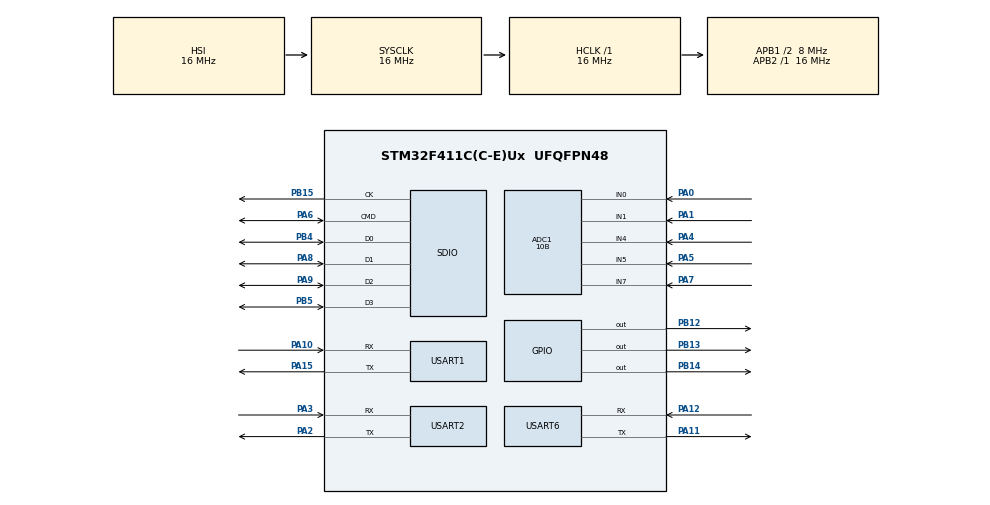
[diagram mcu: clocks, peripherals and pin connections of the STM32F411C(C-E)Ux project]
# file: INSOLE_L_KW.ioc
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ADC1.Channel-10\#ChannelRegularConversion=ADC_CHANNEL_1
ADC1.Channel-12\#ChannelRegularConversion=ADC_CHANNEL_4
ADC1.Channel-13\#ChannelRegularConversion=ADC_CHANNEL_5
ADC1.Channel-14\#ChannelRegularConversion=ADC_CHANNEL_7
ADC1.Channel-5\#ChannelRegularConversion=ADC_CHANNEL_0
ADC1.ContinuousConvMode=ENABLE
ADC1.DMAContinuousRequests=ENABLE
ADC1.InjNumberOfConversion=0
ADC1.NbrOfConversion=5
ADC1.NbrOfConversionFlag=1
ADC1.Rank-10\#ChannelRegularConversion=2
ADC1.Rank-12\#ChannelRegularConversion=3
ADC1.Rank-13\#ChannelRegularConversion=4
ADC1.Rank-14\#ChannelRegularConversion=5
ADC1.Rank-5\#ChannelRegularConversion=1
ADC1.Resolution=ADC_RESOLUTION_10B
ADC1.SamplingTime-10\#ChannelRegularConversion=ADC_SAMPLETIME_112CYCLES
ADC1.SamplingTime-12\#ChannelRegularConversion=ADC_SAMPLETIME_112CYCLES
ADC1.SamplingTime-13\#ChannelRegularConversion=ADC_SAMPLETIME_112CYCLES
ADC1.SamplingTime-14\#ChannelRegularConversion=ADC_SAMPLETIME_112CYCLES
ADC1.SamplingTime-5\#ChannelRegularConversion=ADC_SAMPLETIME_112CYCLES
ADC1.master=1
Dma.ADC1.0.Direction=DMA_PERIPH_TO_MEMORY
Dma.ADC1.0.FIFOMode=DMA_FIFOMODE_DISABLE
Dma.ADC1.0.Instance=DMA2_Stream0
Dma.ADC1.0.MemDataAlignment=DMA_MDATAALIGN_HALFWORD
Dma.ADC1.0.MemInc=DMA_MINC_ENABLE
Dma.ADC1.0.Mode=DMA_CIRCULAR
Dma.ADC1.0.PeriphDataAlignment=DMA_PDATAALIGN_HALFWORD
Dma.ADC1.0.PeriphInc=DMA_PINC_DISABLE
Dma.ADC1.0.Priority=DMA_PRIORITY_LOW
Dma.Request0=ADC1
Dma.Request1=SDIO_RX
Dma.Request2=SDIO_TX
Dma.Request3=USART2_RX
Dma.SDIO_RX.1.Direction=DMA_PERIPH_TO_MEMORY
Dma.SDIO_RX.1.FIFOMode=DMA_FIFOMODE_ENABLE
Dma.SDIO_RX.1.FIFOThreshold=DMA_FIFO_THRESHOLD_FULL
Dma.SDIO_RX.1.Instance=DMA2_Stream3
Dma.SDIO_RX.1.MemBurst=DMA_MBURST_INC4
Dma.SDIO_RX.1.MemDataAlignment=DMA_MDATAALIGN_WORD
Dma.SDIO_RX.1.MemInc=DMA_MINC_ENABLE
Dma.SDIO_RX.1.Mode=DMA_PFCTRL
Dma.SDIO_RX.1.PeriphBurst=DMA_PBURST_INC4
Dma.SDIO_RX.1.PeriphDataAlignment=DMA_PDATAALIGN_WORD
Dma.SDIO_RX.1.PeriphInc=DMA_PINC_DISABLE
Dma.SDIO_RX.1.Priority=DMA_PRIORITY_LOW
Dma.SDIO_TX.2.Direction=DMA_MEMORY_TO_PERIPH
Dma.SDIO_TX.2.FIFOMode=DMA_FIFOMODE_ENABLE
Dma.SDIO_TX.2.FIFOThreshold=DMA_FIFO_THRESHOLD_FULL
Dma.SDIO_TX.2.Instance=DMA2_Stream6
Dma.SDIO_TX.2.MemBurst=DMA_MBURST_INC4
Dma.SDIO_TX.2.MemDataAlignment=DMA_MDATAALIGN_WORD
Dma.SDIO_TX.2.MemInc=DMA_MINC_ENABLE
Dma.SDIO_TX.2.Mode=DMA_PFCTRL
Dma.SDIO_TX.2.PeriphBurst=DMA_PBURST_INC4
Dma.SDIO_TX.2.PeriphDataAlignment=DMA_PDATAALIGN_WORD
Dma.SDIO_TX.2.PeriphInc=DMA_PINC_DISABLE
Dma.SDIO_TX.2.Priority=DMA_PRIORITY_LOW
Dma.USART2_RX.3.Direction=DMA_PERIPH_TO_MEMORY
Dma.USART2_RX.3.FIFOMode=DMA_FIFOMODE_DISABLE
Dma.USART2_RX.3.Instance=DMA1_Stream5
Dma.USART2_RX.3.MemDataAlignment=DMA_MDATAALIGN_BYTE
Dma.USART2_RX.3.MemInc=DMA_MINC_ENABLE
Dma.USART2_RX.3.Mode=DMA_CIRCULAR
Dma.USART2_RX.3.PeriphDataAlignment=DMA_PDATAALIGN_BYTE
Dma.USART2_RX.3.PeriphInc=DMA_PINC_DISABLE
Dma.USART2_RX.3.Priority=DMA_PRIORITY_LOW
FATFS._MAX_SS=4096
FREERTOS.Tasks01=defaultTask,0,128,StartDefaultTask,Default,NULL
FREERTOS.configTICK_RATE_HZ=1000
Mcu.Family=STM32F4
Mcu.Name=STM32F411C(C-E)Ux
Mcu.Package=UFQFPN48
NVIC.DMA1_Stream5_IRQn=true\:5\:0\:false\:false\:true\:true\:false\:true
NVIC.DMA2_Stream0_IRQn=true\:5\:0\:false\:false\:true\:true\:false\:true
NVIC.DMA2_Stream3_IRQn=true\:5\:0\:false\:false\:true\:true\:false\:true
NVIC.DMA2_Stream6_IRQn=true\:5\:0\:false\:false\:true\:true\:false\:true
NVIC.PriorityGroup=NVIC_PRIORITYGROUP_4
NVIC.SDIO_IRQn=true\:5\:0\:false\:false\:true\:true\:true\:true
NVIC.TIM4_IRQn=true\:5\:0\:false\:false\:true\:true\:true\:true
NVIC.TIM5_IRQn=true\:0\:0\:false\:false\:true\:false\:false\:true
NVIC.TimeBase=TIM5_IRQn
NVIC.TimeBaseIP=TIM5
NVIC.USART1_IRQn=true\:5\:0\:false\:false\:true\:true\:true\:true
PA0-WKUP.Signal=ADCx_IN0
PA1.Signal=ADCx_IN1
PA10.Mode=Asynchronous
PA10.Signal=USART1_RX
PA11.Mode=Asynchronous
PA11.Signal=USART6_TX
PA12.Mode=Asynchronous
PA12.Signal=USART6_RX
PA15.Mode=Asynchronous
PA15.Signal=USART1_TX
PA2.Mode=Asynchronous
PA2.Signal=USART2_TX
PA3.Mode=Asynchronous
PA3.Signal=USART2_RX
PA4.Signal=ADCx_IN4
PA5.Signal=ADCx_IN5
PA6.GPIO_PuPd=GPIO_PULLUP
PA6.Mode=SD_4_bits_Wide_bus
PA6.Signal=SDIO_CMD
PA7.Signal=ADCx_IN7
PA8.GPIO_PuPd=GPIO_PULLUP
PA8.Mode=SD_4_bits_Wide_bus
PA8.Signal=SDIO_D1
PA9.GPIO_PuPd=GPIO_PULLUP
PA9.Mode=SD_4_bits_Wide_bus
PA9.Signal=SDIO_D2
PB12.Signal=GPIO_Output
PB13.Signal=GPIO_Output
PB14.Signal=GPIO_Output
PB15.Mode=SD_4_bits_Wide_bus
PB15.Signal=SDIO_CK
PB4.GPIO_PuPd=GPIO_PULLUP
PB4.Mode=SD_4_bits_Wide_bus
PB4.Signal=SDIO_D0
PB5.GPIO_PuPd=GPIO_PULLUP
PB5.Mode=SD_4_bits_Wide_bus
PB5.Signal=SDIO_D3
ProjectManager.HeapSize=0x200
ProjectManager.StackSize=0x400
ProjectManager.TargetToolchain=MDK-ARM V5
RCC.48MHZClocksFreq_Value=42666666.666666664
RCC.AHBFreq_Value=16000000
RCC.APB1CLKDivider=RCC_HCLK_DIV2
RCC.APB1Freq_Value=8000000
RCC.APB1TimFreq_Value=16000000
RCC.APB2Freq_Value=16000000
RCC.APB2TimFreq_Value=16000000
RCC.CortexFreq_Value=16000000
RCC.HCLKFreq_Value=16000000
RCC.HSE_VALUE=8000000
RCC.HSI_VALUE=16000000
RCC.LSE_VALUE=32768
RCC.PLLM=8
RCC.PLLN=64
RCC.PLLQ=3
RCC.SYSCLKFreq_VALUE=16000000
RCC.VCOOutputFreq_Value=128000000
SDIO.ClockDiv=3
SH.ADCx_IN0.0=ADC1_IN0,IN0
SH.ADCx_IN1.0=ADC1_IN1,IN1
SH.ADCx_IN4.0=ADC1_IN4,IN4
SH.ADCx_IN5.0=ADC1_IN5,IN5
SH.ADCx_IN7.0=ADC1_IN7,IN7
TIM4.Period=10-1
TIM4.Prescaler=1600-2
TIM4.TIM_MasterOutputTrigger=TIM_TRGO_UPDATE
USART1.VirtualMode=VM_ASYNC
USART2.VirtualMode=VM_ASYNC
USART6.VirtualMode=VM_ASYNC
VP_CRC_VS_CRC.Mode=CRC_Activate
VP_FATFS_VS_SDIO.Mode=SDIO
VP_FREERTOS_VS_CMSIS_V1.Mode=CMSIS_V1
VP_SYS_VS_tim5.Mode=TIM5
VP_TIM4_VS_ClockSourceINT.Mode=Internal
board=custom

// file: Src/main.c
/* USER CODE BEGIN Header */
/**
  ******************************************************************************
  * @file           : main.c
  * @brief          : Main program body
  ******************************************************************************
  * @attention
  *
  * <h2><center>&copy; Copyright (c) 2020 STMicroelectronics.
  * All rights reserved.</center></h2>
  *
  * This software component is licensed by ST under Ultimate Liberty license
  * SLA0044, the "License"; You may not use this file except in compliance with
  * the License. You may obtain a copy of the License at:
  *                             www.st.com/SLA0044
  *
  ******************************************************************************
  */
/* USER CODE END Header */

#include "main.h"
#include "cmsis_os.h"
#include "fatfs.h"

/* USER CODE BEGIN Includes */
#include <stdio.h>
#include <string.h>
#include <stdbool.h>
/* USER CODE END Includes */

ADC_HandleTypeDef hadc1;
DMA_HandleTypeDef hdma_adc1;

CRC_HandleTypeDef hcrc;

SD_HandleTypeDef hsd;
DMA_HandleTypeDef hdma_sdio_rx;
DMA_HandleTypeDef hdma_sdio_tx;

TIM_HandleTypeDef htim4;

UART_HandleTypeDef huart1;
UART_HandleTypeDef huart2;
UART_HandleTypeDef huart6;
DMA_HandleTypeDef hdma_usart2_rx;

osThreadId defaultTaskHandle;

void SystemClock_Config(void);
static void MX_GPIO_Init(void);
static void MX_DMA_Init(void);
static void MX_ADC1_Init(void);
static void MX_USART1_UART_Init(void);
static void MX_USART2_UART_Init(void);
static void MX_SDIO_SD_Init(void);
static void MX_TIM4_Init(void);
static void MX_USART6_UART_Init(void);
static void MX_CRC_Init(void);
void StartDefaultTask(void const * argument);

/* USER CODE BEGIN 0 */
//Communication buffers
	uint8_t txdata[46]; //4 from FFFF,FFFE 18 from Imu, 20 byte from insole  2byte crc 2byte tmr : 46 byte
	uint8_t rxBuf[34] = {0};
	uint8_t buff_index = 0;
	uint8_t rxBuf_transmit[28] = {0};
	uint16_t adcValArray[5] = {0,};

	//crcval
	uint32_t crcArray[8] = {0,};
	uint32_t crcArray_send[10] = {0,};

	uint16_t crcval = 0;

	//test
	uint16_t cal_val = 0;
	uint16_t receive_val =0;

	//buff calcualtion
	uint8_t rxBuf_crc[34] = {0};
	bool crc_test = true;
	bool rxBuf_trans = true;

/* USER CODE END 0 */

int main(void)
{

  /* MCU Configuration--------------------------------------------------------*/

  /* Reset of all peripherals, Initializes the Flash interface and the Systick. */
  HAL_Init();

  /* Configure the system clock */
  SystemClock_Config();

  /* Initialize all configured peripherals */
  MX_GPIO_Init();
  MX_DMA_Init();
  MX_ADC1_Init();
  MX_USART1_UART_Init();
  MX_USART2_UART_Init();
  MX_SDIO_SD_Init();
  MX_TIM4_Init();
  MX_USART6_UART_Init();
  MX_CRC_Init();
  /* USER CODE BEGIN 2 */
  HAL_UART_Receive_DMA(&huart2, (uint8_t *)rxBuf_crc, 34); //dma mode only in the mcu data
  HAL_ADC_Start_DMA(&hadc1,(uint32_t *)adcValArray, 5);
  HAL_TIM_Base_Start_IT(&htim4);
  /* USER CODE END 2 */

  /* Create the thread(s) */
  /* definition and creation of defaultTask */
  osThreadDef(defaultTask, StartDefaultTask, osPriorityNormal, 0, 128);
  defaultTaskHandle = osThreadCreate(osThread(defaultTask), NULL);

  /* Start scheduler */
  osKernelStart();

  /* We should never get here as control is now taken by the scheduler */

  /* Infinite loop */
  while (1)
  {

  }
}

void SystemClock_Config(void)
{
  RCC_OscInitTypeDef RCC_OscInitStruct = {0};
  RCC_ClkInitTypeDef RCC_ClkInitStruct = {0};

  /** Configure the main internal regulator output voltage
  */
  __HAL_RCC_PWR_CLK_ENABLE();
  __HAL_PWR_VOLTAGESCALING_CONFIG(PWR_REGULATOR_VOLTAGE_SCALE1);
  /** Initializes the CPU, AHB and APB busses clocks
  */
  RCC_OscInitStruct.OscillatorType = RCC_OSCILLATORTYPE_HSI;
  RCC_OscInitStruct.HSIState = RCC_HSI_ON;
  RCC_OscInitStruct.HSICalibrationValue = RCC_HSICALIBRATION_DEFAULT;
  RCC_OscInitStruct.PLL.PLLState = RCC_PLL_ON;
  RCC_OscInitStruct.PLL.PLLSource = RCC_PLLSOURCE_HSI;
  RCC_OscInitStruct.PLL.PLLM = 8;
  RCC_OscInitStruct.PLL.PLLN = 64;
  RCC_OscInitStruct.PLL.PLLP = RCC_PLLP_DIV2;
  RCC_OscInitStruct.PLL.PLLQ = 3;
  if (HAL_RCC_OscConfig(&RCC_OscInitStruct) != HAL_OK)
  {
    Error_Handler();
  }
  /** Initializes the CPU, AHB and APB busses clocks
  */
  RCC_ClkInitStruct.ClockType = RCC_CLOCKTYPE_HCLK|RCC_CLOCKTYPE_SYSCLK
                              |RCC_CLOCKTYPE_PCLK1|RCC_CLOCKTYPE_PCLK2;
  RCC_ClkInitStruct.SYSCLKSource = RCC_SYSCLKSOURCE_HSI;
  RCC_ClkInitStruct.AHBCLKDivider = RCC_SYSCLK_DIV1;
  RCC_ClkInitStruct.APB1CLKDivider = RCC_HCLK_DIV2;
  RCC_ClkInitStruct.APB2CLKDivider = RCC_HCLK_DIV1;

  if (HAL_RCC_ClockConfig(&RCC_ClkInitStruct, FLASH_LATENCY_0) != HAL_OK)
  {
    Error_Handler();
  }
}

static void MX_ADC1_Init(void)
{

  ADC_ChannelConfTypeDef sConfig = {0};

  /** Configure the global features of the ADC (Clock, Resolution, Data Alignment and number of conversion)
  */
  hadc1.Instance = ADC1;
  hadc1.Init.ClockPrescaler = ADC_CLOCK_SYNC_PCLK_DIV2;
  hadc1.Init.Resolution = ADC_RESOLUTION_10B;
  hadc1.Init.ScanConvMode = ENABLE;
  hadc1.Init.ContinuousConvMode = ENABLE;
  hadc1.Init.DiscontinuousConvMode = DISABLE;
  hadc1.Init.ExternalTrigConvEdge = ADC_EXTERNALTRIGCONVEDGE_NONE;
  hadc1.Init.ExternalTrigConv = ADC_SOFTWARE_START;
  hadc1.Init.DataAlign = ADC_DATAALIGN_RIGHT;
  hadc1.Init.NbrOfConversion = 5;
  hadc1.Init.DMAContinuousRequests = ENABLE;
  hadc1.Init.EOCSelection = ADC_EOC_SINGLE_CONV;
  if (HAL_ADC_Init(&hadc1) != HAL_OK)
  {
    Error_Handler();
  }
  /** Configure for the selected ADC regular channel its corresponding rank in the sequencer and its sample time.
  */
  sConfig.Channel = ADC_CHANNEL_0;
  sConfig.Rank = 1;
  sConfig.SamplingTime = ADC_SAMPLETIME_112CYCLES;
  if (HAL_ADC_ConfigChannel(&hadc1, &sConfig) != HAL_OK)
  {
    Error_Handler();
  }
  /** Configure for the selected ADC regular channel its corresponding rank in the sequencer and its sample time.
  */
  sConfig.Channel = ADC_CHANNEL_1;
  sConfig.Rank = 2;
  if (HAL_ADC_ConfigChannel(&hadc1, &sConfig) != HAL_OK)
  {
    Error_Handler();
  }
  /** Configure for the selected ADC regular channel its corresponding rank in the sequencer and its sample time.
  */
  sConfig.Channel = ADC_CHANNEL_4;
  sConfig.Rank = 3;
  if (HAL_ADC_ConfigChannel(&hadc1, &sConfig) != HAL_OK)
  {
    Error_Handler();
  }
  /** Configure for the selected ADC regular channel its corresponding rank in the sequencer and its sample time.
  */
  sConfig.Channel = ADC_CHANNEL_5;
  sConfig.Rank = 4;
  if (HAL_ADC_ConfigChannel(&hadc1, &sConfig) != HAL_OK)
  {
    Error_Handler();
  }
  /** Configure for the selected ADC regular channel its corresponding rank in the sequencer and its sample time.
  */
  sConfig.Channel = ADC_CHANNEL_7;
  sConfig.Rank = 5;
  if (HAL_ADC_ConfigChannel(&hadc1, &sConfig) != HAL_OK)
  {
    Error_Handler();
  }

}

static void MX_CRC_Init(void)
{

  hcrc.Instance = CRC;
  if (HAL_CRC_Init(&hcrc) != HAL_OK)
  {
    Error_Handler();
  }

}

static void MX_SDIO_SD_Init(void)
{

  hsd.Instance = SDIO;
  hsd.Init.ClockEdge = SDIO_CLOCK_EDGE_RISING;
  hsd.Init.ClockBypass = SDIO_CLOCK_BYPASS_DISABLE;
  hsd.Init.ClockPowerSave = SDIO_CLOCK_POWER_SAVE_DISABLE;
  hsd.Init.BusWide = SDIO_BUS_WIDE_1B;
  hsd.Init.HardwareFlowControl = SDIO_HARDWARE_FLOW_CONTROL_DISABLE;
  hsd.Init.ClockDiv = 3;

}

static void MX_TIM4_Init(void)
{

  TIM_ClockConfigTypeDef sClockSourceConfig = {0};
  TIM_MasterConfigTypeDef sMasterConfig = {0};

  htim4.Instance = TIM4;
  htim4.Init.Prescaler = 1600-2;
  htim4.Init.CounterMode = TIM_COUNTERMODE_UP;
  htim4.Init.Period = 10-1;
  htim4.Init.ClockDivision = TIM_CLOCKDIVISION_DIV1;
  htim4.Init.AutoReloadPreload = TIM_AUTORELOAD_PRELOAD_DISABLE;
  if (HAL_TIM_Base_Init(&htim4) != HAL_OK)
  {
    Error_Handler();
  }
  sClockSourceConfig.ClockSource = TIM_CLOCKSOURCE_INTERNAL;
  if (HAL_TIM_ConfigClockSource(&htim4, &sClockSourceConfig) != HAL_OK)
  {
    Error_Handler();
  }
  sMasterConfig.MasterOutputTrigger = TIM_TRGO_UPDATE;
  sMasterConfig.MasterSlaveMode = TIM_MASTERSLAVEMODE_DISABLE;
  if (HAL_TIMEx_MasterConfigSynchronization(&htim4, &sMasterConfig) != HAL_OK)
  {
    Error_Handler();
  }

}

static void MX_USART1_UART_Init(void)
{

  huart1.Instance = USART1;
  huart1.Init.BaudRate = 115200;
  huart1.Init.WordLength = UART_WORDLENGTH_8B;
  huart1.Init.StopBits = UART_STOPBITS_1;
  huart1.Init.Parity = UART_PARITY_NONE;
  huart1.Init.Mode = UART_MODE_TX_RX;
  huart1.Init.HwFlowCtl = UART_HWCONTROL_NONE;
  huart1.Init.OverSampling = UART_OVERSAMPLING_16;
  if (HAL_UART_Init(&huart1) != HAL_OK)
  {
    Error_Handler();
  }

}

static void MX_USART2_UART_Init(void)
{

  huart2.Instance = USART2;
  huart2.Init.BaudRate = 115200;
  huart2.Init.WordLength = UART_WORDLENGTH_8B;
  huart2.Init.StopBits = UART_STOPBITS_1;
  huart2.Init.Parity = UART_PARITY_NONE;
  huart2.Init.Mode = UART_MODE_TX_RX;
  huart2.Init.HwFlowCtl = UART_HWCONTROL_NONE;
  huart2.Init.OverSampling = UART_OVERSAMPLING_16;
  if (HAL_UART_Init(&huart2) != HAL_OK)
  {
    Error_Handler();
  }

}

static void MX_USART6_UART_Init(void)
{

  huart6.Instance = USART6;
  huart6.Init.BaudRate = 115200;
  huart6.Init.WordLength = UART_WORDLENGTH_8B;
  huart6.Init.StopBits = UART_STOPBITS_1;
  huart6.Init.Parity = UART_PARITY_NONE;
  huart6.Init.Mode = UART_MODE_TX_RX;
  huart6.Init.HwFlowCtl = UART_HWCONTROL_NONE;
  huart6.Init.OverSampling = UART_OVERSAMPLING_16;
  if (HAL_UART_Init(&huart6) != HAL_OK)
  {
    Error_Handler();
  }

}

static void MX_DMA_Init(void)
{

  /* DMA controller clock enable */
  __HAL_RCC_DMA2_CLK_ENABLE();
  __HAL_RCC_DMA1_CLK_ENABLE();

  /* DMA interrupt init */
  /* DMA1_Stream5_IRQn interrupt configuration */
  HAL_NVIC_SetPriority(DMA1_Stream5_IRQn, 5, 0);
  HAL_NVIC_EnableIRQ(DMA1_Stream5_IRQn);
  /* DMA2_Stream0_IRQn interrupt configuration */
  HAL_NVIC_SetPriority(DMA2_Stream0_IRQn, 5, 0);
  HAL_NVIC_EnableIRQ(DMA2_Stream0_IRQn);
  /* DMA2_Stream3_IRQn interrupt configuration */
  HAL_NVIC_SetPriority(DMA2_Stream3_IRQn, 5, 0);
  HAL_NVIC_EnableIRQ(DMA2_Stream3_IRQn);
  /* DMA2_Stream6_IRQn interrupt configuration */
  HAL_NVIC_SetPriority(DMA2_Stream6_IRQn, 5, 0);
  HAL_NVIC_EnableIRQ(DMA2_Stream6_IRQn);

}

static void MX_GPIO_Init(void)
{
  GPIO_InitTypeDef GPIO_InitStruct = {0};

  /* GPIO Ports Clock Enable */
  __HAL_RCC_GPIOA_CLK_ENABLE();
  __HAL_RCC_GPIOB_CLK_ENABLE();

  /*Configure GPIO pin Output Level */
  HAL_GPIO_WritePin(GPIOB, GPIO_PIN_12|GPIO_PIN_13|GPIO_PIN_14, GPIO_PIN_RESET);

  /*Configure GPIO pins : PB12 PB13 PB14 */
  GPIO_InitStruct.Pin = GPIO_PIN_12|GPIO_PIN_13|GPIO_PIN_14;
  GPIO_InitStruct.Mode = GPIO_MODE_OUTPUT_PP;
  GPIO_InitStruct.Pull = GPIO_NOPULL;
  GPIO_InitStruct.Speed = GPIO_SPEED_FREQ_LOW;
  HAL_GPIO_Init(GPIOB, &GPIO_InitStruct);

}

/* USER CODE BEGIN 4 */
 void HAL_UART_RxCpltCallback(UART_HandleTypeDef *huart)
{
  /* Prevent unused argument(s) compilation warning */
  /* NOTE: This function should not be modified, when the callback is needed,
           the HAL_UART_RxCpltCallback could be implemented in the user file
   */
	//add ring buffer
	// data pacing and save buff to transmit array
	if(huart->Instance == USART2){
	HAL_GPIO_TogglePin(GPIOB, GPIO_PIN_12);
				//buff copy
				if(crc_test){
					crc_test = false;

					memcpy(&rxBuf[0], &rxBuf_crc[0], 34);

				char buff_maxsize = sizeof(rxBuf) / sizeof(uint8_t);

				for(char i = buff_index; i<buff_maxsize; i++){
				//buff set check
				//buffer size % control

				char buff_end = (i+buff_maxsize-1)%buff_maxsize;
				char buff_index_2 = (i+1)%buff_maxsize;
				char buff_end_2 = (i+buff_maxsize-2)%buff_maxsize;
				char crc_begin = (i+buff_maxsize-4)%buff_maxsize; //MLSB
				char crc_end = (i+buff_maxsize-3)%buff_maxsize;   //LLSB

					if(rxBuf[i] == 0xFF && rxBuf[buff_index_2] == 0xFF&& rxBuf[buff_end_2] == 0xFF&& rxBuf[buff_end] == 0xFE){
					buff_index = i;
					memset(crcArray,0,8*sizeof(crcArray[0]));

					for(int j =0; j<7; j++){ // 7 calculate
						for(int k=0; k<4; k++){
						char c = (j*4 + i + 2 + k)%buff_maxsize;
						if(c == crc_begin) continue;
						if(c == crc_end) continue;
						crcArray[j] |= (uint32_t)rxBuf[c] << 8*k;
					   }
				   }

				   cal_val = (HAL_CRC_Calculate(&hcrc,crcArray,7)&0xffff);
				   receive_val = (int16_t)(((int16_t)rxBuf[crc_begin] << 8) | rxBuf[crc_end]);

					if(cal_val != receive_val) { crc_test = true; break;}

					//rxBuf_trans = false;
						for(int j =0; j<buff_maxsize; j++)
						{
						int k = (i+j+2)%buff_maxsize;
						rxBuf_transmit[j] = rxBuf[k];
						}
					//rxBuf_trans = true;
						//rx transmit -> data access -> fail to end

					crc_test = true;
					break;
				}
				if(buff_index == buff_maxsize-1) buff_index = 0;
			}
				crc_test = true;
		}
	}
}
/* USER CODE END 4 */

void StartDefaultTask(void const * argument)
{

  /* init code for FATFS */
  MX_FATFS_Init();

  /* USER CODE BEGIN 5 */
  /* Infinite loop */
  for(;;)
  {
		txdata[0] = 0xFF;
		txdata[1] = 0xFF;

		for(int i =0; i<5; i++){
		char a = i*2;
		txdata[2+a] = adcValArray[i] >> 8;  //hi
		txdata[3+a] = adcValArray[i] & 0xFF;//lo
		}
		//tmr data
		txdata[40] = 0;
		txdata[41] = 0;

		memcpy(&txdata[12], &rxBuf_transmit[0], 28);

		memset(crcArray_send,0,10*sizeof(crcArray_send[0]));
		for(int i =0; i<11; i++){
		char c = i*4 + 2;
		memcpy(&crcArray_send[i],&txdata[c] , 4);
		  }

		crcval = HAL_CRC_Calculate(&hcrc,crcArray_send,10)& 0xffff;

		txdata[42] = crcval >> 8;
		txdata[43] = crcval & 0xff;

		txdata[44] = 0xFF;
		txdata[45] = 0xFE;

	//TRANSMIT DATA TO PC

		HAL_UART_Transmit(&huart1,txdata,46,10);  // 4byte + 18 + 10 byte(insole right)+ CRC 2  + tmr 2: 46 byte

  }
  /* USER CODE END 5 */
}

void HAL_TIM_PeriodElapsedCallback(TIM_HandleTypeDef *htim)
{
  if (htim->Instance == TIM5) {
    HAL_IncTick();
  }
}

void Error_Handler(void)
{
}

/************************ (C) COPYRIGHT STMicroelectronics *****END OF FILE****/
